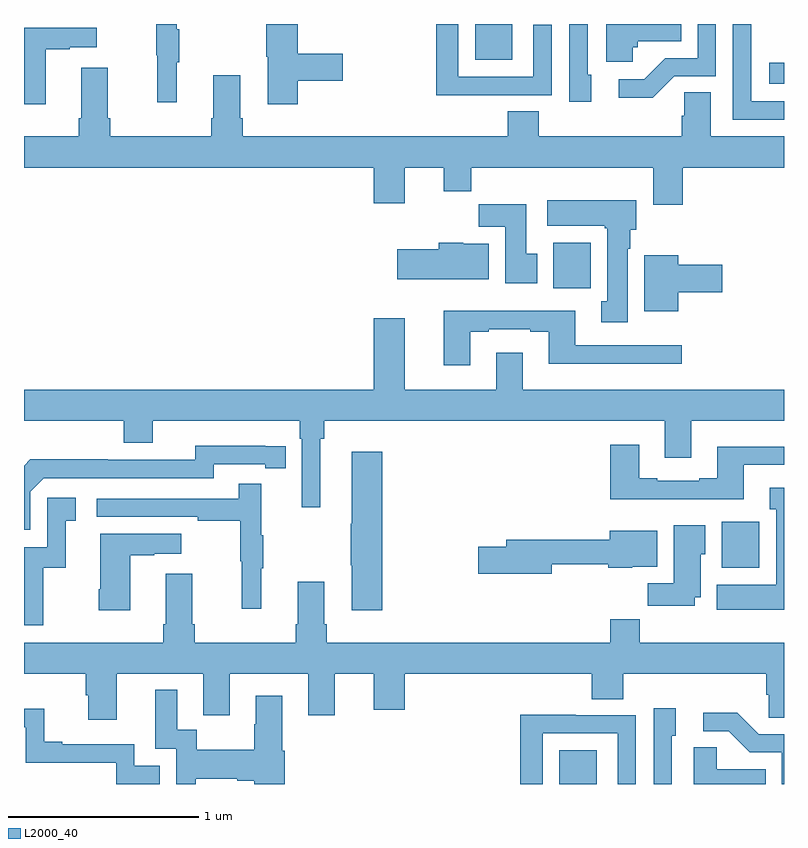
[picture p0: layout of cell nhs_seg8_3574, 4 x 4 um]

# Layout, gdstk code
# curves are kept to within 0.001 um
import gdstk
lib = gdstk.Library(unit=1e-6, precision=1e-09)
def R(c, l, rs):  # rectangles x0, y0, x1, y1
    for r in rs: c.add(gdstk.rectangle(r[:2], r[2:], *l))
def P(c, l, *ps):  # polygons
    for p in ps: c.add(gdstk.Polygon(p, *l))
L2000_40 = (2000, 40)

nhs_seg8_3574 = lib.new_cell('nhs_seg8_3574')
R(nhs_seg8_3574, L2000_40, [(333.818,1135.9,334.015,1136.077), (334.673,1137.038,334.87,1137.28), (333.785,1138.508,333.982,1138.75), (334.923,1139.585,335,1139.695), (333.374,1139.711,333.571,1139.9)])
P(nhs_seg8_3574, L2000_40, [(335,1139.493),(334.827,1139.493),(334.827,1139.9),(334.731,1139.9),(334.731,1139.397),(335,1139.397)],
  [(331.805,1139.699),(331.816,1139.699),(331.816,1139.873),(331.805,1139.873),(331.805,1139.9),(331.695,1139.9),(331.695,1139.736),(331.702,1139.736),(331.702,1139.487),(331.805,1139.487)],
  [(333.461,1139.526),(333.777,1139.526),(333.777,1139.896),(333.681,1139.896),(333.681,1139.622),(333.285,1139.622),(333.285,1139.9),(333.169,1139.9),(333.169,1139.525),(333.461,1139.525)],
  [(334.422,1139.625),(334.641,1139.625),(334.641,1139.9),(334.545,1139.9),(334.545,1139.721),(334.376,1139.721),(334.265,1139.61),(334.131,1139.61),(334.131,1139.513),(334.309,1139.513)],
  [(334.203,1139.778),(334.23,1139.778),(334.23,1139.81),(334.46,1139.81),(334.46,1139.9),(334.064,1139.9),(334.064,1139.702),(334.203,1139.702)],
  [(333.985,1139.634),(333.966,1139.634),(333.966,1139.9),(333.87,1139.9),(333.87,1139.49),(333.985,1139.49)],
  [(332.441,1139.602),(332.677,1139.602),(332.677,1139.744),(332.441,1139.744),(332.441,1139.9),(332.275,1139.9),(332.275,1139.727),(332.282,1139.727),(332.282,1139.478),(332.441,1139.478)],
  [(331.114,1139.767),(331.241,1139.767),(331.241,1139.777),(331.384,1139.777),(331.384,1139.881),(331,1139.881),(331,1139.478),(331.114,1139.478)],
  [(334.466,1139.144),(335,1139.144),(335,1139.308),(334.615,1139.308),(334.615,1139.54),(334.476,1139.54),(334.476,1139.417),(334.463,1139.417),(334.463,1139.308),(333.71,1139.308),(333.71,1139.441),(333.545,1139.441),(333.545,1139.308),(332.15,1139.308),(332.15,1139.404),(332.137,1139.404),(332.137,1139.629),(331.997,1139.629),(331.997,1139.404),(331.985,1139.404),(331.985,1139.308),(331.454,1139.308),(331.454,1139.404),(331.441,1139.404),(331.441,1139.671),(331.301,1139.671),(331.301,1139.404),(331.289,1139.404),(331.289,1139.308),(331,1139.308),(331,1139.144),(332.84,1139.144),(332.84,1138.956),(333.004,1138.956),(333.004,1139.144),(333.209,1139.144),(333.209,1139.02),(333.353,1139.02),(333.353,1139.144),(334.313,1139.144),(334.313,1138.95),(334.466,1138.95)],
  [(334.177,1138.718),(334.192,1138.718),(334.192,1138.818),(334.222,1138.818),(334.222,1138.972),(333.753,1138.972),(333.753,1138.838),(334.057,1138.838),(334.057,1138.825),(334.07,1138.825),(334.07,1138.442),(334.037,1138.442),(334.037,1138.329),(334.177,1138.329)],
  [(333.7,1138.692),(333.643,1138.692),(333.643,1138.951),(333.394,1138.951),(333.394,1138.832),(333.533,1138.832),(333.533,1138.536),(333.7,1138.536)],
  [(333.445,1138.744),(333.312,1138.744),(333.312,1138.75),(333.182,1138.75),(333.182,1138.714),(332.964,1138.714),(332.964,1138.556),(333.445,1138.556)],
  [(334.444,1138.487),(334.675,1138.487),(334.675,1138.634),(334.444,1138.634),(334.444,1138.684),(334.265,1138.684),(334.265,1138.388),(334.444,1138.388)],
  [(333.349,1138.281),(333.445,1138.281),(333.445,1138.293),(333.665,1138.293),(333.665,1138.281),(333.761,1138.281),(333.761,1138.112),(334.462,1138.112),(334.462,1138.209),(333.901,1138.209),(333.901,1138.39),(333.209,1138.39),(333.209,1138.104),(333.349,1138.104)],
  [(332.56,1137.716),(332.579,1137.716),(332.579,1137.812),(334.373,1137.812),(334.373,1137.618),(334.513,1137.618),(334.513,1137.812),(335,1137.812),(335,1137.976),(333.625,1137.976),(333.625,1138.171),(333.485,1138.171),(333.485,1137.976),(333.004,1137.976),(333.004,1138.351),(332.84,1138.351),(332.84,1137.976),(331,1137.976),(331,1137.812),(331.526,1137.812),(331.526,1137.695),(331.678,1137.695),(331.678,1137.812),(332.45,1137.812),(332.45,1137.716),(332.463,1137.716),(332.463,1137.357),(332.56,1137.357)],
  [(334.789,1137.579),(335,1137.579),(335,1137.676),(334.649,1137.676),(334.649,1137.508),(334.553,1137.508),(334.553,1137.495),(334.333,1137.495),(334.333,1137.508),(334.237,1137.508),(334.237,1137.685),(334.085,1137.685),(334.085,1137.398),(334.789,1137.398)],
  [(331.032,1137.438),(331.104,1137.51),(331.998,1137.51),(331.998,1137.582),(332.27,1137.582),(332.27,1137.562),(332.378,1137.562),(332.378,1137.678),(331.902,1137.679),(331.902,1137.606),(331.442,1137.606),(331.442,1137.608),(331.034,1137.608),(331,1137.574),(331,1137.237),(331.032,1137.237)],
  [(332.885,1137.649),(332.726,1137.649),(332.726,1137.269),(332.719,1137.269),(332.719,1137.052),(332.726,1137.052),(332.726,1136.814),(332.885,1136.814)],
  [(332.249,1137.035),(332.26,1137.035),(332.26,1137.209),(332.249,1137.209),(332.249,1137.481),(332.131,1137.481),(332.131,1137.402),(331.383,1137.402),(331.383,1137.306),(331.915,1137.306),(331.915,1137.286),(332.139,1137.286),(332.139,1137.072),(332.146,1137.072),(332.146,1136.823),(332.249,1136.823)],
  [(335,1137.46),(334.925,1137.46),(334.925,1137.347),(334.958,1137.347),(334.958,1136.95),(334.646,1136.95),(334.646,1136.816),(335,1136.816)],
  [(331.102,1137.039),(331.22,1137.039),(331.22,1137.285),(331.273,1137.285),(331.273,1137.406),(331.122,1137.406),(331.122,1137.147),(331,1137.147),(331,1136.736),(331.102,1136.736)],
  [(334.531,1136.882),(334.561,1136.882),(334.561,1137.108),(334.585,1137.108),(334.585,1137.262),(334.421,1137.262),(334.421,1136.956),(334.282,1136.956),(334.282,1136.838),(334.531,1136.838)],
  [(333.778,1137.057),(334.075,1137.057),(334.075,1137.038),(334.2,1137.038),(334.2,1137.044),(334.333,1137.044),(334.333,1137.232),(334.082,1137.232),(334.082,1137.185),(333.539,1137.185),(333.539,1137.149),(333.39,1137.149),(333.39,1137.007),(333.778,1137.007)],
  [(331.558,1137.103),(331.685,1137.103),(331.685,1137.113),(331.828,1137.113),(331.828,1137.217),(331.4,1137.217),(331.4,1136.926),(331.393,1136.926),(331.393,1136.814),(331.558,1136.814)],
  [(331.489,1136.48),(331.943,1136.48),(331.943,1136.262),(332.083,1136.262),(332.083,1136.48),(332.495,1136.48),(332.495,1136.262),(332.635,1136.262),(332.635,1136.48),(332.84,1136.48),(332.84,1136.292),(333.004,1136.292),(333.004,1136.48),(333.989,1136.48),(333.989,1136.347),(334.154,1136.347),(334.154,1136.48),(334.907,1136.48),(334.907,1136.371),(334.92,1136.371),(334.92,1136.248),(335,1136.248),(335,1136.644),(334.241,1136.644),(334.241,1136.768),(334.085,1136.768),(334.085,1136.644),(332.594,1136.644),(332.594,1136.74),(332.581,1136.74),(332.581,1136.965),(332.441,1136.965),(332.441,1136.74),(332.429,1136.74),(332.429,1136.644),(331.898,1136.644),(331.898,1136.74),(331.885,1136.74),(331.885,1137.007),(331.745,1137.007),(331.745,1136.74),(331.733,1136.74),(331.733,1136.644),(331,1136.644),(331,1136.48),(331.325,1136.48),(331.325,1136.367),(331.337,1136.367),(331.337,1136.238),(331.489,1136.238)],
  [(331.905,1135.928),(332.123,1135.928),(332.123,1135.916),(332.212,1135.916),(332.212,1135.9),(332.372,1135.9),(332.372,1136.076),(332.359,1136.076),(332.359,1136.365),(332.219,1136.365),(332.219,1136.214),(332.212,1136.214),(332.212,1136.08),(331.909,1136.08),(331.909,1136.186),(331.807,1136.186),(331.807,1136.395),(331.691,1136.395),(331.691,1136.085),(331.8,1136.085),(331.8,1135.9),(331.905,1135.9)],
  [(334.41,1136.154),(334.429,1136.154),(334.429,1136.299),(334.314,1136.299),(334.314,1135.9),(334.41,1135.9)],
  [(331.715,1135.995),(331.581,1135.995),(331.581,1136.109),(331.201,1136.109),(331.201,1136.122),(331.107,1136.122),(331.107,1136.297),(331,1136.297),(331,1136.198),(331.008,1136.198),(331.008,1136.013),(331.485,1136.013),(331.485,1135.9),(331.715,1135.9)],
  [(335,1136.163),(334.866,1136.163),(334.753,1136.276),(334.575,1136.276),(334.575,1136.178),(334.709,1136.178),(334.82,1136.067),(334.989,1136.067),(334.989,1135.9),(335,1135.9)],
  [(333.729,1136.166),(334.125,1136.166),(334.125,1135.9),(334.221,1135.9),(334.221,1136.262),(333.905,1136.262),(333.905,1136.264),(333.613,1136.264),(333.613,1135.9),(333.729,1135.9)],
  [(334.904,1135.978),(334.647,1135.978),(334.647,1136.093),(334.526,1136.093),(334.526,1135.9),(334.904,1135.9)])

lib.write_gds('nhs_seg8_3574.gds')
